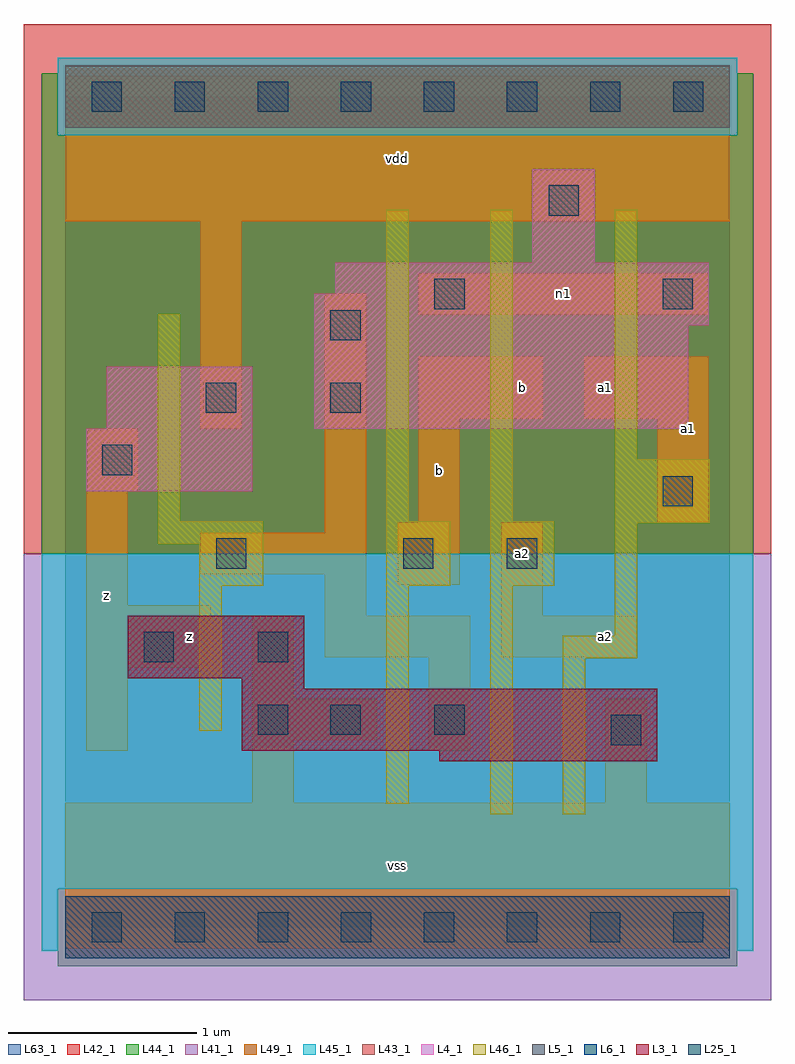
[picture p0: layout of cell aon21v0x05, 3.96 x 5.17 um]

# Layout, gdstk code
import gdstk
lib = gdstk.Library(unit=1e-6, precision=1e-09)
def R(c, l, rs):  # rectangles x0, y0, x1, y1
    for r in rs: c.add(gdstk.rectangle(r[:2], r[2:], *l))
def A(c, l, x, y, w, h, nx, ny, dx, dy):  # array of equal rectangles
    R(c, l, [(x+i*dx, y+j*dy, x+i*dx+w, y+j*dy+h) for i in range(nx) for j in range(ny)])
L3_1 = (3, 1)
L4_1 = (4, 1)
L5_1 = (5, 1)
L6_1 = (6, 1)
L25_1 = (25, 1)
L41_1 = (41, 1)
L42_1 = (42, 1)
L43_1 = (43, 1)
L44_1 = (44, 1)
L45_1 = (45, 1)
L46_1 = (46, 1)
L49_1 = (49, 1)
L63_1 = (63, 1)

aon21v0x05 = lib.new_cell('aon21v0x05')
R(aon21v0x05, L3_1, [(1.98,0.88,3.135,0.935), (0.935,0.935,3.135,1.265), (0.935,1.265,1.265,1.32), (0.33,1.32,1.265,1.65)])
R(aon21v0x05, L4_1, [(0.11,2.31,0.99,2.64), (0.22,2.64,0.99,2.97), (1.32,2.64,3.3,3.19), (1.32,3.19,3.41,3.355), (1.43,3.355,3.41,3.52), (2.475,3.52,2.805,4.015)])
R(aon21v0x05, L5_1, [(0,4.235,3.52,4.565)])
R(aon21v0x05, L6_1, [(0,-0.165,3.52,0.165)])
A(aon21v0x05, L25_1, 0.14, -0.08, 0.16, 0.16, 8, 2, 0.44, 4.4)
R(aon21v0x05, L25_1, [(2.89,0.965,3.05,1.125), (1.02,1.02,1.18,1.18), (1.405,1.02,1.565,1.18), (1.955,1.02,2.115,1.18), (0.415,1.405,0.575,1.565), (1.02,1.405,1.18,1.565), (0.8,1.9,0.96,2.06), (1.79,1.9,1.95,2.06), (2.34,1.9,2.5,2.06), (3.165,2.23,3.325,2.39), (0.195,2.395,0.355,2.555), (0.745,2.725,0.905,2.885), (1.405,2.725,1.565,2.885), (1.405,3.11,1.565,3.27), (1.955,3.275,2.115,3.435), (3.165,3.275,3.325,3.435), (2.56,3.77,2.72,3.93)])
R(aon21v0x05, L41_1, [(-0.22,-0.385,3.74,1.98)])
R(aon21v0x05, L42_1, [(-0.22,1.98,3.74,4.785)])
R(aon21v0x05, L43_1, [(0,-0.165,3.52,0.165), (1.98,0.88,3.135,0.935), (0.935,0.935,3.135,1.265), (0.935,1.265,1.265,1.32), (0.33,1.32,1.265,1.65), (0.11,2.31,0.99,2.64), (0.22,2.64,0.99,2.97), (1.32,2.64,3.3,3.19), (1.32,3.19,3.41,3.355), (1.43,3.355,3.41,3.52), (2.475,3.52,2.805,4.015), (0,4.235,3.52,4.565)])
R(aon21v0x05, L44_1, [(-0.04,-0.205,3.56,0.205), (-0.125,1.98,3.645,4.195), (-0.125,4.195,-0.04,4.525), (3.56,4.195,3.645,4.525)])
R(aon21v0x05, L45_1, [(-0.125,-0.125,-0.04,0.205), (3.56,-0.125,3.645,0.205), (-0.125,0.205,3.645,1.98), (-0.04,4.195,3.56,4.605)])
R(aon21v0x05, L46_1, [(2.25,0.6,2.37,1.81), (2.635,0.6,2.755,1.425), (1.7,0.655,1.82,1.81), (0.71,1.04,0.83,1.81), (2.635,1.425,3.03,1.545), (2.91,1.545,3.03,2.14), (0.71,1.81,1.05,2.03), (1.7,1.81,2.04,2.15), (2.25,1.81,2.59,2.15), (0.49,2.03,1.05,2.15), (2.91,2.14,3.415,2.48), (0.49,2.15,0.61,3.25), (1.7,2.15,1.82,3.8), (2.25,2.15,2.37,3.8), (2.91,2.48,3.03,3.8)])
R(aon21v0x05, L49_1, [(0,-0.11,3.52,0.66), (0.99,0.66,1.21,0.99), (2.86,0.66,3.08,1.21), (0.11,0.935,0.33,1.375), (1.925,0.935,2.145,1.43), (0.99,0.99,1.65,1.21), (0.99,1.21,1.21,1.65), (0.11,1.375,0.77,1.705), (1.375,1.43,2.145,1.65), (2.31,1.43,3.025,1.65), (1.375,1.65,1.595,1.87), (2.31,1.65,2.53,2.145), (0.11,1.705,0.33,2.31), (1.76,1.815,2.09,2.145), (0.715,1.87,1.595,2.09), (1.375,2.09,1.595,3.355), (1.87,2.145,2.09,2.695), (3.135,2.145,3.41,2.695), (0.11,2.31,0.385,2.64), (0.715,2.64,0.935,3.74), (1.87,2.695,2.53,3.025), (2.75,2.695,3.41,3.025), (1.87,3.245,3.41,3.465), (0,3.74,3.52,4.51)])
R(aon21v0x05, L63_1, [(0,0,3.52,4.4)])
aon21v0x05.add(gdstk.Label('z', (0.22,1.76), layer=49, texttype=1))
aon21v0x05.add(gdstk.Label('z', (0.66,1.54), layer=49, texttype=1))
aon21v0x05.add(gdstk.Label('vss', (1.76,0.33), layer=49, texttype=1))
aon21v0x05.add(gdstk.Label('a2', (2.42,1.98), layer=49, texttype=1))
aon21v0x05.add(gdstk.Label('b', (1.98,2.42), layer=49, texttype=1))
aon21v0x05.add(gdstk.Label('b', (2.42,2.86), layer=49, texttype=1))
aon21v0x05.add(gdstk.Label('vdd', (1.76,4.07), layer=49, texttype=1))
aon21v0x05.add(gdstk.Label('a2', (2.86,1.54), layer=49, texttype=1))
aon21v0x05.add(gdstk.Label('a1', (2.86,2.86), layer=49, texttype=1))
aon21v0x05.add(gdstk.Label('a1', (3.3,2.64), layer=49, texttype=1))
aon21v0x05.add(gdstk.Label('n1', (2.64,3.355), layer=49, texttype=1))

lib.write_gds('aon21v0x05.gds')
